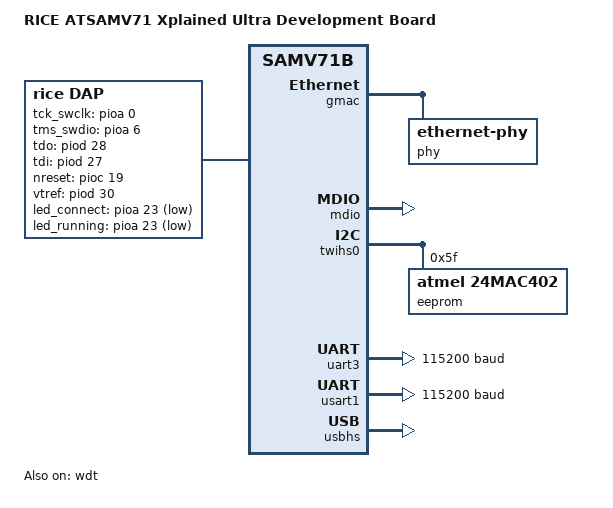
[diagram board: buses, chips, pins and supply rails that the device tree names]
/dts-v1/;

#include <atmel/samv71q21b.dtsi>
#include <dt-bindings/pinctrl/samv71q-pinctrl.h>

/ {
    model = "RICE ATSAMV71 Xplained Ultra Development Board";
    compatible = "rice,samv71b_xult", "atmel,samv71q21b", "atmel,samv71b";

    chosen {
		zephyr,sram = &sram0;
		zephyr,flash = &flash0;
		zephyr,code-partition = &slot0_partition;
	};

    dap: dap {
        label = "dap";
        compatible = "rice,dap";

		tck_swclk_gpios = <&pioa 0 GPIO_ACTIVE_HIGH>;
		tms_swdio_gpios = <&pioa 6 GPIO_ACTIVE_HIGH>;
		tdo_gpios = <&piod 28 GPIO_ACTIVE_HIGH>;
		tdi_gpios = <&piod 27 GPIO_ACTIVE_HIGH>;
		nreset_gpios = <&pioc 19 (GPIO_ACTIVE_HIGH | GPIO_OPEN_DRAIN)>;
		vtref_gpios = <&piod 30 (GPIO_ACTIVE_HIGH | GPIO_PULL_DOWN)>;
		led_connect_gpios = <&pioa 23 GPIO_ACTIVE_LOW>;
		led_running_gpios = <&pioa 23 GPIO_ACTIVE_LOW>;

		swo_uart = <&uart3>;

		pinctrl-jtag = <&dap_pinctrl_tdo_swo_gpio>;
		pinctrl-swd = <&dap_pinctrl_tdo_swo_uart>;
    };

    io: io {
        label = "io";
        compatible = "rice,io";
    };

    vcp: vcp {
        label = "vcp";
        compatible = "rice,vcp";
        uart = <&usart1>;
    };
};

&cpu0 {
	clock-frequency = <300000000>;
};

&flash0 {
	flash_partitions: partitions {
		compatible = "fixed-partitions";
		#address-cells = <1>;
		#size-cells = <1>;

		/* 64 KBytes */
		boot_partition: partition@0 {
			label = "mcuboot";
			reg = <0x0 0x00010000>;
			read-only;
		};

		/* 64 KBytes padding */

		/* 896 KBytes */
		slot0_partition: partition@20000 {
			label = "image-0";
			reg = <0x00020000 0x000e0000>;
		};

		/* 896 KBytes */
		slot1_partition: partition@100000 {
			label = "image-1";
			reg = <0x00100000 0x000e0000>;
		};

		/* 64 KBytes */
		scratch_partition: partition@1e0000 {
			label = "image-scratch";
			reg = <0x001e0000 0x00010000>;
		};

		/* 512 Bytes */
		manufacturing_partition: partition@1f0000 {
			label = "manufacturing";
			reg = <0x001f0000 0x00000200>;
			read-only;
		};
	};
};

&gmac {
    status = "okay";

    pinctrl-0 = <&gmac_pinctrl>;
    pinctrl-names = "default";

    mac-eeprom = <&eeprom>;

    phy: phy {
        compatible = "ethernet-phy";
        status = "okay";
        address = <0>;
        mdio = <&mdio>;
    };
};

&mdio {
	status = "okay";

	pinctrl-0 = <&mdio_pinctrl>;
	pinctrl-names = "default";
};

&pinctrl {
	dap_pinctrl_tdo_swo_gpio: dap_pinctrl_tdo_swo_gpio {
		group1 {
			pinmux = <PD28_GPIO>;
		};
	};

	dap_pinctrl_tdo_swo_uart: dap_pinctrl_tdo_swo_uart {
		group1 {
			pinmux = <PD28A_UART3_RXD>;
			bias-pull-up;
		};
	};

	gmac_pinctrl: gmac_pinctrl {
        group1 {
            pinmux = <PD0A_GMAC_GTXCK>,
                     <PD1A_GMAC_GTXEN>,
                     <PD2A_GMAC_GTX0>,
                     <PD3A_GMAC_GTX1>,
                     <PD4A_GMAC_GRXDV>,
                     <PD5A_GMAC_GRX0>,
                     <PD6A_GMAC_GRX1>,
                     <PD7A_GMAC_GRXER>;
        };
    };

    mdio_pinctrl: mdio_pinctrl {
        group1 {
            pinmux = <PD8A_GMAC_GMDC>,
                     <PD9A_GMAC_GMDIO>;
        };
    };

    twihs0_pinctrl: twihs0_pinctrl {
        group1 {
            pinmux = <PA4A_TWI0_TWCK>,
                     <PA3A_TWI0_TWD>;
        };
    };

	usart1_pinctrl: usart1_pinctrl {
		group1 {
			pinmux = <PA21A_USART1_RXD>,
					 <PB4D_USART1_TXD>;
		};
	};
};

&pioa {
	status = "okay";
};

&piob {
	status = "okay";
};

&pioc {
	status = "okay";
};

&piod {
	status = "okay";
};

&pioe {
	status = "okay";
};

&twihs0 {
    status = "okay";

    pinctrl-0 = <&twihs0_pinctrl>;
    pinctrl-names = "default";

	eeprom: eeprom@5f {
        compatible = "atmel,24mac402";
        reg = <0x5f>;
    };
};

&uart3 {
	status = "okay";
	current-speed = <115200>;
	pinctrl-0 = <&dap_pinctrl_tdo_swo_uart>;
	pinctrl-names = "default";
};

&usart1 {
    status = "okay";
	current-speed = <115200>;
    pinctrl-0 = <&usart1_pinctrl>;
	pinctrl-names = "default";
};

usbd: &usbhs {
	status = "okay";
};

&wdt {
	status = "okay";
};
